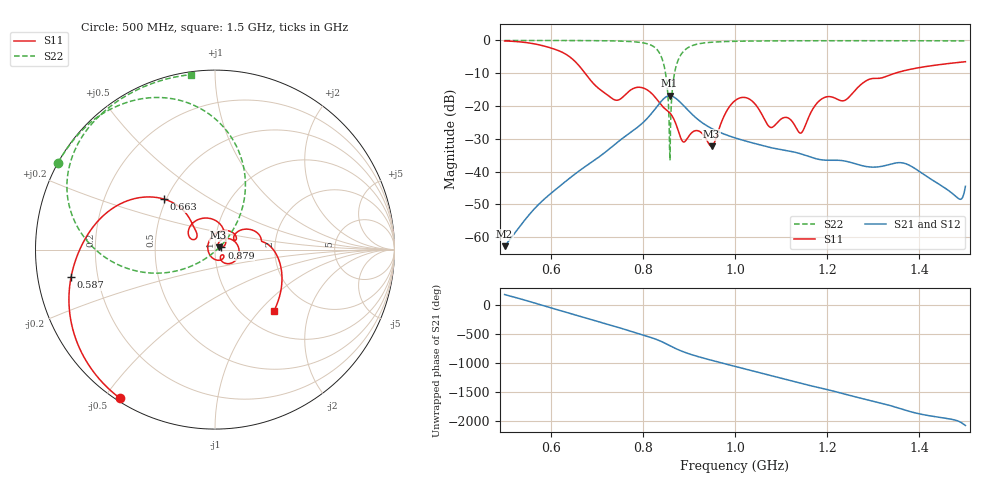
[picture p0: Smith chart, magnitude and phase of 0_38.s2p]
! TOUCHSTONE file generated by CST MICROWAVE STUDIO
! Date and time: Mon Sep 28 14:16:35 2020
! Project name: Scenario_1_Free_SPace.cst
! Parameters = {dx1=814.1; L_HA=400; MT=2.54; Rad_Dielectric=30; Rad_Lower=7.3; Rad_Upper=30; a_HA=580; a_WG=246; b_HA=500; b_WG=121; c_HA=0; c_WG=187; d_feed=85; h_feed=15; h_lower=18; h_upper=40}
! Header version: 2018
! Port assignment regex: !\s*Touchstone port\s*([0-9]+)\s*=\s*(CST MWS port|CST DS port)\s*([0-9]+|Zmin|Zmax)\s*\(\"(.*)\"\)(\s*mode\s*([0-9]+))?.*
! Touchstone port assignment:
! Touchstone port 1 = CST MWS port 1 ("")
! Touchstone port 2 = CST MWS port 2 ("")
# GHz S DB R 50
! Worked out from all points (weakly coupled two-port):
!   1003 points, 500 MHz to 1.5 GHz, reference 50 ohm
!   highest |S21| = -16.88 dB at 858 MHz (marker M1); lowest = -62.8 dB at 500 MHz (marker M2)
!   lowest |S11| = -32.3 dB at 949 MHz (marker M3), VSWR 1.05, Z = 52 + j1.43 ohm
!   |S11| at or under -10 dB: 674.6 MHz to 1.348 GHz (672.9 MHz wide, 66.6 % of centre)
!   |S22| runs from -36.6 to 0.0 dB; largest |S21 - S12| = 0.00015
!   S11 on the Smith chart (normalised r, x): 500 MHz: 0.01, -0.55; 587 MHz: 0.10, -0.09; 663 MHz: 0.49, +0.33; 879 MHz: 1.07, +0.03; 1.5 GHz: 1.37, -1.20
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0.5  -0.15 -122.6  -62.77 173.6  -62.77 173.6  -0.01 151.1
0.587  -1.76 -169.2  -48.30 -24.6  -48.30 -24.6  -0.02 145.1
0.663  -7.96 135.3  -39.68 159.2  -39.68 159.2  -0.04 138.7
0.667  -8.64 133.1  -39.27 149.8  -39.27 149.8  -0.04 138.3
0.738  -18.08 143.5  -31.87 -12.4  -31.87 -12.4  -0.15 129.5
0.78  -14.62 141.3  -27.40 -114.3  -27.40 -114.3  -0.41 120.5
0.834  -18.64 65.1  -19.59 104.9  -19.59 104.9  -3.36 85.5
0.848  -20.84 52.6  -17.45 54.2  -17.45 54.2  -9.01 61.8
0.858  -22.03 40.5  -16.88 13.7  -16.88 13.7  -32.89 23.8
0.862  -22.72 34.3  -16.95 -2.6  -16.95 -2.6  -18.92 -141.2
0.868  -24.23 25.1  -17.32 -26.1  -17.32 -26.1  -10.58 -154.4
0.879  -28.45 18.4  -18.57 -65.6  -18.57 -65.6  -5.25 -171.1
0.904  -28.46 45.4  -22.15 -138.7  -22.15 -138.7  -1.76 166.7
0.949  -32.32 34.5  -26.84 119.5  -26.84 119.5  -0.55 149.4
1  -18.37 20.2  -29.73 13.9  -29.73 13.9  -0.26 140.3
1.076  -26.47 -47.3  -32.66 -140.7  -32.66 -140.7  -0.14 131.9
1.142  -28.28 -163.9  -34.57 84.7  -34.57 84.7  -0.10 126.2
1.167  -21.37 92.5  -35.74 35.1  -35.74 35.1  -0.09 124.2
1.334  -10.66 6.2  -37.88 64.5  -37.88 64.5  -0.09 111.4
1.378  -8.88 -9.0  -38.06 -41.2  -38.07 -41.3  -0.10 108.0
1.486  -6.69 -42.3  -48.34 145.1  -48.21 147.0  -0.13 99.1
1.5  -6.49 -46.1  -44.51 75.0  -44.54 75.1  -0.14 97.9
